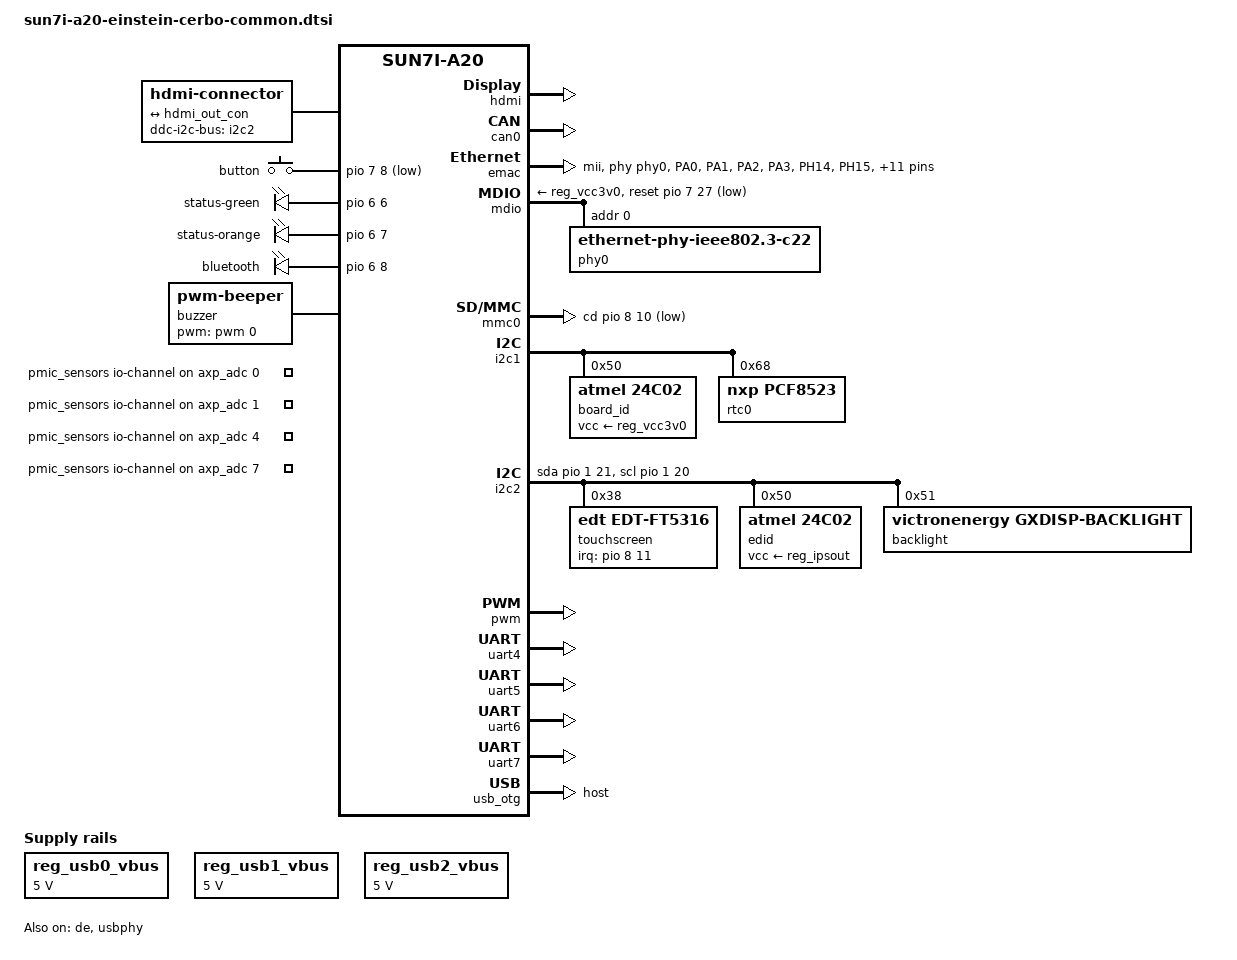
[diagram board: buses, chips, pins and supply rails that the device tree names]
// SPDX-License-Identifier: GPL-2.0 OR X11
/*
 * Copyright (C) 2018 Mans Rullgard <mans@mansr.com>
 */

#include "sun7i-a20-einstein.dtsi"
#include <dt-bindings/input/input.h>

/ {
	aliases {
		ethernet0 = &emac;
		hwmon0 = &rtp;
		hwmon1 = &pmic_sensors;
		nvmem0 = &board_id;
		nvmem1 = &edid;
		rtc0 = &rtc0;
		rtc1 = &rtc;
		watchdog0 = &ext_wdt;
		watchdog1 = &wdt;
	};

	hdmi-connector {
		compatible = "hdmi-connector";
		type = "a";
		ddc-i2c-bus = <&i2c2>;

		port {
			hdmi_con_in: endpoint {
				remote-endpoint = <&hdmi_out_con>;
			};
		};
	};

	button {
		compatible = "gpio-keys";

		button {
			linux,code = <KEY_CONFIG>;
			gpios = <&pio 7 8 GPIO_ACTIVE_LOW>;	/* PH8 */
		};
	};

	leds {
		compatible = "gpio-leds";

		led-status-green {
			label = "status-green";
			gpios = <&pio 6 6 GPIO_ACTIVE_HIGH>;	/* PG6 */
			default-state = "off";
		};

		led-status-orange {
			label = "status-orange";
			gpios = <&pio 6 7 GPIO_ACTIVE_HIGH>;	/* PG7 */
			linux,default-trigger = "blink-slow";
		};

		led-bluetooth {
			label = "bluetooth";
			gpios = <&pio 6 8 GPIO_ACTIVE_HIGH>;	/* PG8 */
			default-state = "off";
		};
	};

	buzzer {
		compatible = "pwm-beeper";
		pwms = <&pwm 0 1000000 0>;
	};

	ext_wdt: watchdog {
		compatible = "linux,wdt-gpio";
		hw_algo = "toggle";
		hw_margin_ms = <30000>;
		always-running;
	};

	pmic_sensors: pmic-sensors {
		compatible = "iio-hwmon";
		io-channels = <&axp_adc 0>, <&axp_adc 1>,
			      <&axp_adc 4>, <&axp_adc 7>;
	};

	reg_usb0_vbus: usb0-vbus {
		compatible = "regulator-fixed";
		regulator-name = "usb0-vbus";
		regulator-min-microvolt = <5000000>;
		regulator-max-microvolt = <5000000>;
		enable-active-high;
	};

	reg_usb1_vbus: usb1-vbus {
		compatible = "regulator-fixed";
		regulator-name = "usb1-vbus";
		regulator-min-microvolt = <5000000>;
		regulator-max-microvolt = <5000000>;
		enable-active-high;
	};

	reg_usb2_vbus: usb2-vbus {
		compatible = "regulator-fixed";
		regulator-name = "usb2-vbus";
		regulator-min-microvolt = <5000000>;
		regulator-max-microvolt = <5000000>;
		enable-active-high;
	};
};

&de {
	status = "okay";
};

&hdmi {
	status = "okay";
};

&hdmi_out {
	hdmi_out_con: endpoint {
		remote-endpoint = <&hdmi_con_in>;
	};
};

&can0 {
	pinctrl-names = "default";
	pinctrl-0 = <&can_pa_pins>;
	status = "okay";
};

&emac {
	pinctrl-names = "default";
	pinctrl-0 = <&emac_pah_pins>;
	phy-handle = <&phy0>;
	phy-mode = "mii";
	status = "okay";
};

&emac_sram {
	status = "okay";
};

&mdio {
	reset-gpios = <&pio 7 27 GPIO_ACTIVE_LOW>;	/* PH27 */
	reset-delay-us = <10000>;
	reset-post-delay-us = <10000>;
	phy-supply = <&reg_vcc3v0>;
	status = "okay";

	phy0: ethernet-phy@0 {
		compatible = "ethernet-phy-ieee802.3-c22";
		reg = <0>;
		clocks = <&mii_phy_tx_clk>;
		smsc,disable-energy-detect;
	};
};

&mmc0 {
	cd-gpios = <&pio 8 10 GPIO_ACTIVE_LOW>;		/* PI10 */
	status = "okay";
};

&i2c1 {
	status = "okay";

	board_id: eeprom@50 {
		compatible = "atmel,24c02";
		reg = <0x50>;
		vcc-supply = <&reg_vcc3v0>;
		pagesize = <16>;
		read-only;
	};

	rtc0: rtc@68 {
		compatible = "nxp,pcf8523";
		status = "okay";
		reg = <0x68>;
	};
};

&i2c2 {
	pinctrl-names = "default", "gpio";
	pinctrl-0 = <&i2c2_pins>;
	pinctrl-1 = <&i2c2_gpio_pins>;
	scl-gpios = <&pio 1 20 (GPIO_ACTIVE_HIGH | GPIO_OPEN_DRAIN)>; /* PB20 */
	sda-gpios = <&pio 1 21 (GPIO_ACTIVE_HIGH | GPIO_OPEN_DRAIN)>; /* PB21 */
	status = "okay";

	touchscreen: touchscreen@38 {
		compatible = "edt,edt-ft5316", "edt,edt-ft5306";
		reg = <0x38>;
		interrupt-parent = <&pio>;
		interrupts = <8 11 IRQ_TYPE_EDGE_FALLING>;
	};

	edid: eeprom@50 {
		compatible = "atmel,24c02";
		reg = <0x50>;
		vcc-supply = <&reg_ipsout>;
		pagesize = <16>;
		read-only;
	};

	backlight: backlight@51 {
		compatible = "victronenergy,gxdisp-backlight";
		reg = <0x51>;
		default-on;
		default-brightness = <15>;
	};
};

&pwm {
	pinctrl-names = "default";
	pinctrl-0 = <&pwm0_pin>;
	status = "okay";
};

&uart1 {
	status = "disabled";
};

&uart4 {
	pinctrl-names = "default";
	pinctrl-0 = <&uart4_ph_pins>;
	status = "okay";
};

&uart5 {
	pinctrl-names = "default";
	pinctrl-0 = <&uart5_ph_pins>;
	status = "okay";
};

&uart6 {
	pinctrl-names = "default";
	pinctrl-0 = <&uart6_pa_pins>;
	status = "okay";
};

&uart7 {
	pinctrl-names = "default";
	pinctrl-0 = <&uart7_pa_pins>;
	status = "okay";
};

&usb_otg {
	dr_mode = "host";
	status = "okay";

	#address-cells = <1>;
	#size-cells = <0>;
};

&otg_sram {
	status = "okay";
};

&usbphy {
	usb0_vbus-supply = <&reg_usb0_vbus>;
	usb1_vbus-supply = <&reg_usb1_vbus>;
	usb2_vbus-supply = <&reg_usb2_vbus>;
	status = "okay";
};

&pio {
	emac_pah_pins: emac-pah-pins {
		pins = "PA0", "PA1", "PA2", "PA3",
		       "PH14", "PH15", "PH16", "PH17",
		       "PA8", "PH19", "PH20", "PH21",
		       "PH22", "PH23", "PH24", "PH25",
		       "PH26";
		function = "emac";
	};

	i2c2_gpio_pins: i2c2-gpio-pins {
		pins = "PB20", "PB21";
		function = "gpio_out";
	};
};
